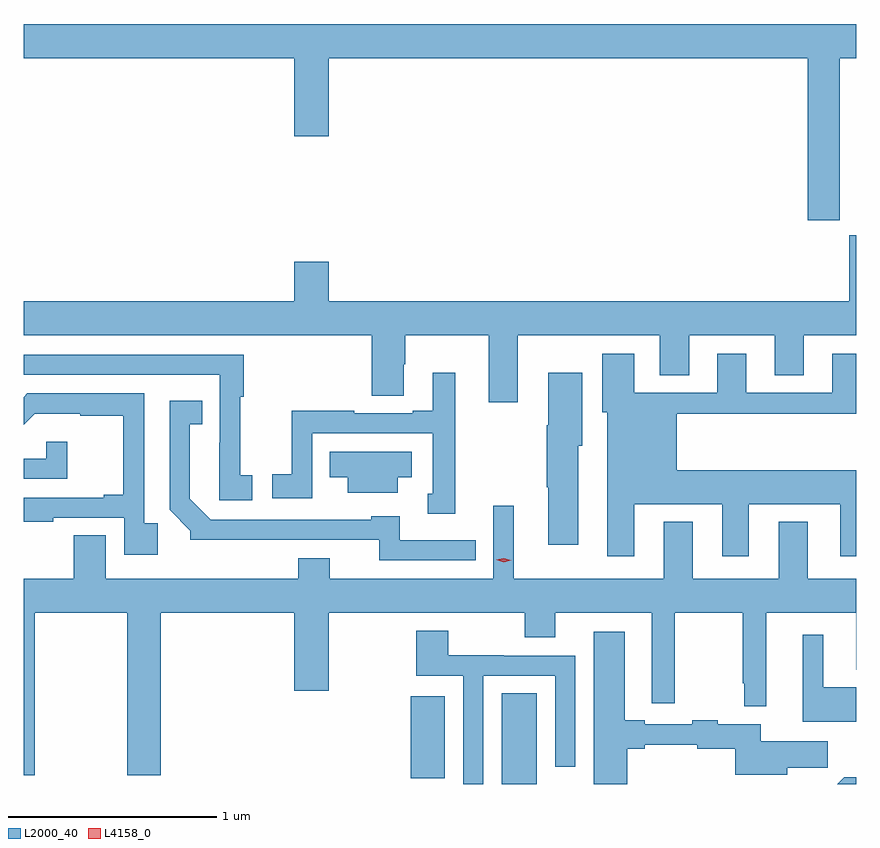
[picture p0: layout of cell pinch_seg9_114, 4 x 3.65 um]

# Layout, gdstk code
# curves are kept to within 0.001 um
import gdstk
lib = gdstk.Library(unit=1e-6, precision=1e-09)
def R(c, l, rs):  # rectangles x0, y0, x1, y1
    for r in rs: c.add(gdstk.rectangle(r[:2], r[2:], *l))
def P(c, l, *ps):  # polygons
    for p in ps: c.add(gdstk.Polygon(p, *l))
L2000_40 = (2000, 40)
L4158_0 = (4158, 0)

pinch_seg9_114 = lib.new_cell('pinch_seg9_114')
R(pinch_seg9_114, L2000_40, [(849.32,1222.238,849.487,1222.673), (848.882,1222.265,849.046,1222.66)])
P(pinch_seg9_114, L2000_40, [(850.942,1225.724),(851.023,1225.724),(851.023,1225.888),(847.023,1225.888),(847.023,1225.724),(848.324,1225.724),(848.324,1225.35),(848.488,1225.35),(848.488,1225.724),(850.79,1225.724),(850.79,1224.945),(850.942,1224.945)],
  [(848.488,1224.745),(848.324,1224.745),(848.324,1224.556),(847.023,1224.556),(847.023,1224.392),(848.696,1224.392),(848.696,1224.103),(848.848,1224.103),(848.848,1224.254),(848.856,1224.254),(848.856,1224.392),(849.257,1224.392),(849.257,1224.072),(849.397,1224.072),(849.397,1224.392),(850.079,1224.392),(850.079,1224.202),(850.219,1224.202),(850.219,1224.392),(850.631,1224.392),(850.631,1224.202),(850.771,1224.202),(850.771,1224.392),(851.023,1224.392),(851.023,1224.873),(850.988,1224.873),(850.988,1224.556),(848.488,1224.556)],
  [(849.955,1223.582),(850.379,1223.582),(850.379,1223.331),(850.507,1223.331),(850.507,1223.582),(850.946,1223.582),(850.946,1223.331),(851.023,1223.331),(851.023,1223.746),(850.159,1223.746),(850.159,1224.016),(851.023,1224.016),(851.023,1224.304),(850.907,1224.304),(850.907,1224.117),(850.495,1224.117),(850.495,1224.304),(850.355,1224.304),(850.355,1224.117),(849.955,1224.117),(849.955,1224.304),(849.803,1224.304),(849.803,1224.024),(849.827,1224.024),(849.827,1223.331),(849.955,1223.331)],
  [(848.122,1223.721),(848.064,1223.721),(848.064,1224.097),(848.081,1224.097),(848.081,1224.3),(847.023,1224.3),(847.023,1224.204),(847.965,1224.204),(847.965,1223.876),(847.964,1223.876),(847.964,1223.601),(848.122,1223.601)],
  [(849.097,1224.214),(848.987,1224.214),(848.987,1224.031),(848.891,1224.031),(848.891,1224.018),(848.612,1224.018),(848.612,1224.031),(848.311,1224.031),(848.311,1223.726),(848.217,1223.726),(848.217,1223.61),(848.409,1223.61),(848.409,1223.922),(848.988,1223.922),(848.988,1223.631),(848.963,1223.631),(848.963,1223.537),(849.097,1223.537)],
  [(849.688,1223.862),(849.706,1223.862),(849.706,1224.214),(849.542,1224.214),(849.542,1223.962),(849.535,1223.962),(849.535,1223.662),(849.542,1223.662),(849.542,1223.388),(849.688,1223.388)],
  [(847.667,1223.491),(847.602,1223.491),(847.602,1224.114),(847.041,1224.114),(847.023,1224.096),(847.023,1223.964),(847.076,1224.017),(847.295,1224.017),(847.295,1224.006),(847.501,1224.006),(847.501,1223.626),(847.409,1223.626),(847.409,1223.613),(847.023,1223.613),(847.023,1223.498),(847.165,1223.498),(847.165,1223.517),(847.506,1223.517),(847.506,1223.34),(847.667,1223.34)],
  [(849.194,1223.409),(848.83,1223.409),(848.83,1223.524),(848.694,1223.524),(848.694,1223.508),(847.923,1223.508),(847.822,1223.609),(847.822,1223.966),(847.88,1223.966),(847.88,1224.079),(847.725,1224.079),(847.725,1223.554),(847.824,1223.455),(847.824,1223.411),(848.731,1223.412),(848.731,1223.313),(849.194,1223.313)],
  [(847.232,1223.881),(847.131,1223.881),(847.131,1223.799),(847.023,1223.799),(847.023,1223.703),(847.232,1223.703)],
  [(848.821,1223.711),(848.887,1223.711),(848.887,1223.833),(848.494,1223.833),(848.494,1223.711),(848.579,1223.711),(848.579,1223.636),(848.821,1223.636)],
  [(847.077,1223.06),(847.522,1223.06),(847.522,1222.281),(847.682,1222.281),(847.682,1223.06),(848.324,1223.06),(848.324,1222.686),(848.488,1222.686),(848.488,1223.06),(849.43,1223.06),(849.43,1222.943),(849.577,1222.943),(849.577,1223.06),(850.04,1223.06),(850.04,1222.626),(850.15,1222.626),(850.15,1223.06),(850.477,1223.06),(850.477,1222.723),(850.484,1222.723),(850.484,1222.611),(850.591,1222.611),(850.591,1223.06),(851.021,1223.06),(851.021,1222.787),(851.023,1222.787),(851.023,1223.224),(850.789,1223.224),(850.789,1223.497),(850.649,1223.497),(850.649,1223.224),(850.237,1223.224),(850.237,1223.497),(850.097,1223.497),(850.097,1223.224),(849.376,1223.224),(849.376,1223.575),(849.279,1223.575),(849.279,1223.224),(848.494,1223.224),(848.494,1223.323),(848.342,1223.323),(848.342,1223.224),(847.417,1223.224),(847.417,1223.432),(847.265,1223.432),(847.265,1223.224),(847.023,1223.224),(847.023,1222.281),(847.077,1222.281)],
  [(849.231,1222.758),(849.576,1222.758),(849.576,1222.32),(849.672,1222.32),(849.672,1222.854),(849.328,1222.854),(849.328,1222.856),(849.063,1222.856),(849.063,1222.975),(848.908,1222.975),(848.908,1222.758),(849.135,1222.758),(849.135,1222.238),(849.231,1222.238)],
  [(849.923,1222.408),(850.006,1222.408),(850.006,1222.426),(850.258,1222.426),(850.258,1222.408),(850.442,1222.408),(850.442,1222.283),(850.69,1222.283),(850.69,1222.315),(850.885,1222.315),(850.885,1222.444),(850.564,1222.444),(850.564,1222.524),(850.358,1222.524),(850.358,1222.544),(850.234,1222.544),(850.234,1222.524),(850.006,1222.524),(850.006,1222.544),(849.91,1222.544),(849.91,1222.969),(849.761,1222.969),(849.761,1222.238),(849.923,1222.238)],
  [(851.023,1222.702),(850.864,1222.702),(850.864,1222.954),(850.766,1222.954),(850.766,1222.538),(851.023,1222.538)],
  [(851.023,1222.271),(850.964,1222.271),(850.931,1222.238),(851.023,1222.238)])
P(pinch_seg9_114, L4158_0, [(849.328,1223.304),(849.293,1223.315),(849.293,1223.315),(849.293,1223.315),(849.329,1223.323),(849.364,1223.312),(849.364,1223.312),(849.364,1223.312)])

lib.write_gds('pinch_seg9_114.gds')
